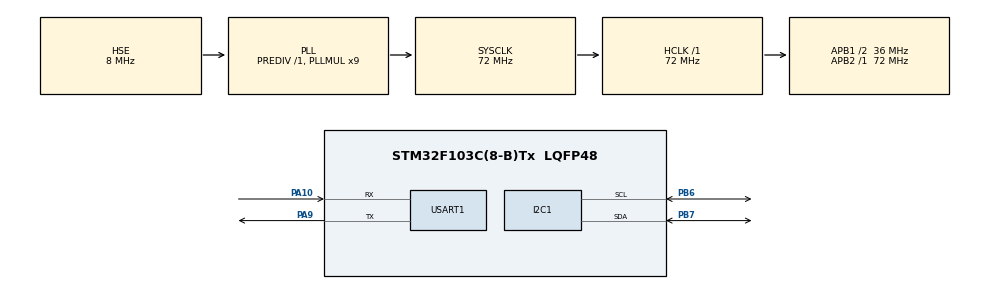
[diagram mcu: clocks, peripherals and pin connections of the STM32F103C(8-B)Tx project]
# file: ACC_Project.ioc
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Dma.I2C1_RX.0.Direction=DMA_PERIPH_TO_MEMORY
Dma.I2C1_RX.0.Instance=DMA1_Channel7
Dma.I2C1_RX.0.MemDataAlignment=DMA_MDATAALIGN_BYTE
Dma.I2C1_RX.0.MemInc=DMA_MINC_ENABLE
Dma.I2C1_RX.0.Mode=DMA_NORMAL
Dma.I2C1_RX.0.PeriphDataAlignment=DMA_PDATAALIGN_BYTE
Dma.I2C1_RX.0.PeriphInc=DMA_PINC_DISABLE
Dma.I2C1_RX.0.Priority=DMA_PRIORITY_LOW
Dma.I2C1_TX.1.Direction=DMA_MEMORY_TO_PERIPH
Dma.I2C1_TX.1.Instance=DMA1_Channel6
Dma.I2C1_TX.1.MemDataAlignment=DMA_MDATAALIGN_BYTE
Dma.I2C1_TX.1.MemInc=DMA_MINC_ENABLE
Dma.I2C1_TX.1.Mode=DMA_NORMAL
Dma.I2C1_TX.1.PeriphDataAlignment=DMA_PDATAALIGN_BYTE
Dma.I2C1_TX.1.PeriphInc=DMA_PINC_DISABLE
Dma.I2C1_TX.1.Priority=DMA_PRIORITY_LOW
Dma.Request0=I2C1_RX
Dma.Request1=I2C1_TX
FREERTOS.HEAP_NUMBER=1
FREERTOS.Tasks01=defaultTask,0,128,StartDefaultTask,Default,NULL,Dynamic,NULL,NULL;ACC,0,512,ACC_WR,Default,NULL,Dynamic,NULL,NULL
I2C1.I2C_Mode=I2C_Standard
Mcu.Family=STM32F1
Mcu.Name=STM32F103C(8-B)Tx
Mcu.Package=LQFP48
NVIC.DMA1_Channel6_IRQn=true\:5\:0\:false\:false\:true\:true\:false\:true\:true
NVIC.DMA1_Channel7_IRQn=true\:5\:0\:false\:false\:true\:true\:false\:true\:true
NVIC.PriorityGroup=NVIC_PRIORITYGROUP_4
PA10.Mode=Asynchronous
PA10.Signal=USART1_RX
PA13.Mode=Serial_Wire
PA13.Signal=SYS_JTMS-SWDIO
PA14.Mode=Serial_Wire
PA14.Signal=SYS_JTCK-SWCLK
PA9.Mode=Asynchronous
PA9.Signal=USART1_TX
PB6.Mode=I2C
PB6.Signal=I2C1_SCL
PB7.Mode=I2C
PB7.Signal=I2C1_SDA
PD0-OSC_IN.Mode=HSE-External-Oscillator
PD0-OSC_IN.Signal=RCC_OSC_IN
PD1-OSC_OUT.Mode=HSE-External-Oscillator
PD1-OSC_OUT.Signal=RCC_OSC_OUT
ProjectManager.HeapSize=0x200
ProjectManager.StackSize=0x400
ProjectManager.TargetToolchain=STM32CubeIDE
RCC.AHBFreq_Value=72000000
RCC.APB1CLKDivider=RCC_HCLK_DIV2
RCC.APB1Freq_Value=36000000
RCC.APB1TimFreq_Value=72000000
RCC.APB2Freq_Value=72000000
RCC.APB2TimFreq_Value=72000000
RCC.HCLKFreq_Value=72000000
RCC.PLLMUL=RCC_PLL_MUL9
RCC.PLLSourceVirtual=RCC_PLLSOURCE_HSE
RCC.SYSCLKFreq_VALUE=72000000
RCC.SYSCLKSource=RCC_SYSCLKSOURCE_PLLCLK
RCC.USBFreq_Value=72000000
USART1.VirtualMode=VM_ASYNC
VP_FREERTOS_VS_CMSIS_V1.Mode=CMSIS_V1
board=custom

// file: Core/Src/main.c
/* USER CODE BEGIN Header */
/**
  ******************************************************************************
  * @file           : main.c
  * @brief          : Main program body
  ******************************************************************************
  * @attention
  *
  * Copyright (c) 2023 STMicroelectronics.
  * All rights reserved.
  *
  * This software is licensed under terms that can be found in the LICENSE file
  * in the root directory of this software component.
  * If no LICENSE file comes with this software, it is provided AS-IS.
  *
  ******************************************************************************
  */
/* USER CODE END Header */
#include "main.h"
#include "cmsis_os.h"

/* USER CODE BEGIN PD */
#define ACC_ADDR	0x18<<1
#define com_READ	0x31
#define com_WRITE	0x30

/* USER CODE END PD */

I2C_HandleTypeDef hi2c1;
DMA_HandleTypeDef hdma_i2c1_rx;
DMA_HandleTypeDef hdma_i2c1_tx;

UART_HandleTypeDef huart1;

osThreadId defaultTaskHandle;
osThreadId ACCHandle;

void SystemClock_Config(void);
static void MX_GPIO_Init(void);
static void MX_DMA_Init(void);
static void MX_I2C1_Init(void);
static void MX_USART1_UART_Init(void);
void StartDefaultTask(void const * argument);
void ACC_WR(void const * argument);

/* USER CODE BEGIN PFP */
void ACC_init();
void GPIO_init();
/* USER CODE END PFP */

/* USER CODE BEGIN 0 */

void GPIO_init(){

    RCC->APB2ENR |= RCC_APB2ENR_IOPCEN;				//Тактирование

    GPIOC->CRH &= ~GPIO_CRH_CNF13;				//Лбнуление регистра CNF0/1 = 00
    GPIOC->CRH |= GPIO_CRH_MODE13;				//MODE 11 => max 50MHz

}

//void ACC_init_addr (uint8_t address){
//    HAL_StatusTypeDef result;
//
//    for(;;){
//	result = HAL_I2C_IsDeviceReady(&hi2c1, address, 1, 100);
//	    if(result == HAL_OK)
//		break;
//	}
//
//    uint8_t command_arr[1];
//    uint8_t receive_arr[1];
//
//    command_arr[0] = 0xF;
//
//    HAL_I2C_Master_Transmit(&hi2c1, address, command_arr, sizeof(command_arr), 100);
//    HAL_I2C_Master_Receive(&hi2c1, address, receive_arr, sizeof(receive_arr), 100);
//
//    GPIOC->BSRR |= GPIO_BSRR_BR13;
//    HAL_Delay(1000);
//    GPIOC->BSRR |= GPIO_BSRR_BS13;
//
//}
//
//void ACC_setting(uint8_t address){
//
//
//    uint8_t command_arr[1];
//    command_arr[0] = 0x20;
//    uint8_t receive_arr[0];
//    HAL_I2C_Master_Transmit(&hi2c1, address, command_arr, sizeof(command_arr), 100);
//    HAL_I2C_Master_Receive(&hi2c1, address, receive_arr, sizeof(receive_arr), 100);
//}
//
//void ACC_Init(uint8_t address, I2C_HandleTypeDef i2c){
//
//    ACC_init_addr(address, &i2c);
//    ACC_setting(address, &i2c);
//}
//
//void I2C_ACC_Init(I2C_HandleTypeDef i2c){
//
//    ACC_Init(ACC_ADDR, &i2c);
//}

/* USER CODE END 0 */

int main(void)
{

  /* MCU Configuration--------------------------------------------------------*/

  /* Reset of all peripherals, Initializes the Flash interface and the Systick. */
  HAL_Init();

  /* Configure the system clock */
  SystemClock_Config();

  /* Initialize all configured peripherals */
  MX_GPIO_Init();
  MX_DMA_Init();
  MX_I2C1_Init();
  MX_USART1_UART_Init();
  /* USER CODE BEGIN 2 */

  GPIO_init();
  ACC_init(&hi2c1);

  /* USER CODE END 2 */

  /* Create the thread(s) */
  /* definition and creation of defaultTask */
  osThreadDef(defaultTask, StartDefaultTask, osPriorityNormal, 0, 128);
  defaultTaskHandle = osThreadCreate(osThread(defaultTask), NULL);

  /* definition and creation of ACC */
  osThreadDef(ACC, ACC_WR, osPriorityNormal, 0, 512);
  ACCHandle = osThreadCreate(osThread(ACC), NULL);

  /* Start scheduler */
  osKernelStart();
  /* We should never get here as control is now taken by the scheduler */
  /* Infinite loop */
  while (1)
  {

  }
}

void SystemClock_Config(void)
{
  RCC_OscInitTypeDef RCC_OscInitStruct = {0};
  RCC_ClkInitTypeDef RCC_ClkInitStruct = {0};

  /** Initializes the RCC Oscillators according to the specified parameters
  * in the RCC_OscInitTypeDef structure.
  */
  RCC_OscInitStruct.OscillatorType = RCC_OSCILLATORTYPE_HSE;
  RCC_OscInitStruct.HSEState = RCC_HSE_ON;
  RCC_OscInitStruct.HSEPredivValue = RCC_HSE_PREDIV_DIV1;
  RCC_OscInitStruct.HSIState = RCC_HSI_ON;
  RCC_OscInitStruct.PLL.PLLState = RCC_PLL_ON;
  RCC_OscInitStruct.PLL.PLLSource = RCC_PLLSOURCE_HSE;
  RCC_OscInitStruct.PLL.PLLMUL = RCC_PLL_MUL9;
  if (HAL_RCC_OscConfig(&RCC_OscInitStruct) != HAL_OK)
  {
    Error_Handler();
  }

  /** Initializes the CPU, AHB and APB buses clocks
  */
  RCC_ClkInitStruct.ClockType = RCC_CLOCKTYPE_HCLK|RCC_CLOCKTYPE_SYSCLK
                              |RCC_CLOCKTYPE_PCLK1|RCC_CLOCKTYPE_PCLK2;
  RCC_ClkInitStruct.SYSCLKSource = RCC_SYSCLKSOURCE_PLLCLK;
  RCC_ClkInitStruct.AHBCLKDivider = RCC_SYSCLK_DIV1;
  RCC_ClkInitStruct.APB1CLKDivider = RCC_HCLK_DIV2;
  RCC_ClkInitStruct.APB2CLKDivider = RCC_HCLK_DIV1;

  if (HAL_RCC_ClockConfig(&RCC_ClkInitStruct, FLASH_LATENCY_2) != HAL_OK)
  {
    Error_Handler();
  }
}

static void MX_I2C1_Init(void)
{

  hi2c1.Instance = I2C1;
  hi2c1.Init.ClockSpeed = 100000;
  hi2c1.Init.DutyCycle = I2C_DUTYCYCLE_2;
  hi2c1.Init.OwnAddress1 = 0;
  hi2c1.Init.AddressingMode = I2C_ADDRESSINGMODE_7BIT;
  hi2c1.Init.DualAddressMode = I2C_DUALADDRESS_DISABLE;
  hi2c1.Init.OwnAddress2 = 0;
  hi2c1.Init.GeneralCallMode = I2C_GENERALCALL_DISABLE;
  hi2c1.Init.NoStretchMode = I2C_NOSTRETCH_DISABLE;
  if (HAL_I2C_Init(&hi2c1) != HAL_OK)
  {
    Error_Handler();
  }

}

static void MX_USART1_UART_Init(void)
{

  huart1.Instance = USART1;
  huart1.Init.BaudRate = 115200;
  huart1.Init.WordLength = UART_WORDLENGTH_8B;
  huart1.Init.StopBits = UART_STOPBITS_1;
  huart1.Init.Parity = UART_PARITY_NONE;
  huart1.Init.Mode = UART_MODE_TX_RX;
  huart1.Init.HwFlowCtl = UART_HWCONTROL_NONE;
  huart1.Init.OverSampling = UART_OVERSAMPLING_16;
  if (HAL_UART_Init(&huart1) != HAL_OK)
  {
    Error_Handler();
  }

}

static void MX_DMA_Init(void)
{

  /* DMA controller clock enable */
  __HAL_RCC_DMA1_CLK_ENABLE();

  /* DMA interrupt init */
  /* DMA1_Channel6_IRQn interrupt configuration */
  HAL_NVIC_SetPriority(DMA1_Channel6_IRQn, 5, 0);
  HAL_NVIC_EnableIRQ(DMA1_Channel6_IRQn);
  /* DMA1_Channel7_IRQn interrupt configuration */
  HAL_NVIC_SetPriority(DMA1_Channel7_IRQn, 5, 0);
  HAL_NVIC_EnableIRQ(DMA1_Channel7_IRQn);

}

static void MX_GPIO_Init(void)
{

  /* GPIO Ports Clock Enable */
  __HAL_RCC_GPIOD_CLK_ENABLE();
  __HAL_RCC_GPIOA_CLK_ENABLE();
  __HAL_RCC_GPIOB_CLK_ENABLE();

}

void StartDefaultTask(void const * argument)
{
  /* USER CODE BEGIN 5 */
  /* Infinite loop */
  for(;;)
  {
    GPIOC->BSRR |= GPIO_BSRR_BS13;
    osDelay(1000);
    GPIOC->BSRR |= GPIO_BSRR_BR13;
    osDelay(1000);
  }
  /* USER CODE END 5 */
}

void ACC_WR(void const * argument)
{
  for(;;)
  {
    osDelay(1);
  }
}

void Error_Handler(void)
{
  __disable_irq();
  while (1)
  {
  }
}
